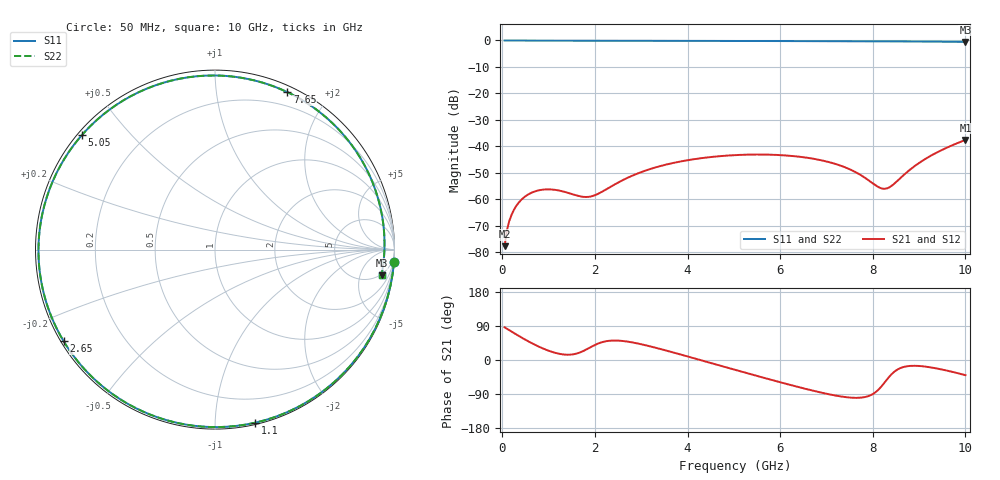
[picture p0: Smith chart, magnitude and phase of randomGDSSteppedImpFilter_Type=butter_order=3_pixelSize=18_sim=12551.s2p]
! freq	dB(S11)	phase(S11)	dB(S12)	phase(S12)
!  dB(S21)	phase(S21)	dB(S22)	phase(S22)
!S-par simulation data
#  GHz  S  DB  R 50
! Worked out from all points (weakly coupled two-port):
!   200 points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, 50 MHz to 10 GHz, reference 50 ohm
!   highest |S21| = -37.56 dB at 10 GHz (marker M1); lowest = -77.6 dB at 50 MHz (marker M2)
!   lowest |S11| = -0.6 dB at 10 GHz (marker M3), VSWR 31.59, Z = 232 - j558 ohm
!   |S11| at or under -10 dB: nowhere
!   |S22| runs from -0.5 to 0.0 dB; largest |S21 - S12| = 0
!   S11 on the Smith chart (normalised r, x): 50 MHz: 0, -30; 1.1 GHz: 0.01, -1.26; 2.65 GHz: 0.01, -0.28; 5.05 GHz: 0.01, +0.37; 7.65 GHz: 0.06, +1.56; 10 GHz: 5, -11
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0.05  -0.00 -3.8  -77.64 86.2  -77.64 86.2  -0.00 -3.8
0.1  -0.01 -7.7  -71.65 82.4  -71.65 82.4  -0.01 -7.7
0.15  -0.02 -11.5  -68.19 78.7  -68.19 78.7  -0.02 -11.5
0.25  -0.03 -19.0  -63.95 71.2  -63.95 71.2  -0.03 -19.0
0.35  -0.04 -26.4  -61.31 63.9  -61.31 63.9  -0.04 -26.4
0.7  -0.07 -51.3  -56.99 40.5  -56.99 40.5  -0.07 -51.3
1.1  -0.09 -77.0  -56.30 20.4  -56.30 20.4  -0.09 -77.0
1.4  -0.10 -94.1  -57.41 14.0  -57.41 14.0  -0.10 -94.1
1.75  -0.11 -111.8  -59.03 23.7  -59.03 23.7  -0.11 -111.8
2.05  -0.12 -125.3  -58.04 42.4  -58.04 42.4  -0.12 -125.3
2.65  -0.13 -148.8  -52.29 49.5  -52.29 49.5  -0.13 -148.8
3.4  -0.14 -173.8  -47.46 29.5  -47.46 29.5  -0.14 -173.8
4.2  -0.16 162.7  -44.66 2.5  -44.66 2.5  -0.16 162.7
5.05  -0.19 139.1  -43.26 -26.7  -43.26 -26.7  -0.19 139.1
5.9  -0.22 115.8  -43.18 -55.4  -43.18 -55.4  -0.22 115.8
6.7  -0.26 93.3  -44.59 -80.7  -44.59 -80.7  -0.26 93.3
7.2  -0.28 78.7  -46.64 -93.9  -46.64 -93.9  -0.28 78.7
7.65  -0.31 65.3  -49.90 -99.9  -49.90 -99.9  -0.31 65.3
8.15  -0.34 50.0  -55.58 -74.8  -55.58 -74.8  -0.34 50.0
8.35  -0.35 43.8  -55.51 -44.9  -55.51 -44.9  -0.35 43.8
9.1  -0.42 20.1  -45.09 -16.9  -45.09 -16.9  -0.42 20.1
10  -0.55 -8.7  -37.56 -40.0  -37.56 -40.0  -0.55 -8.8
